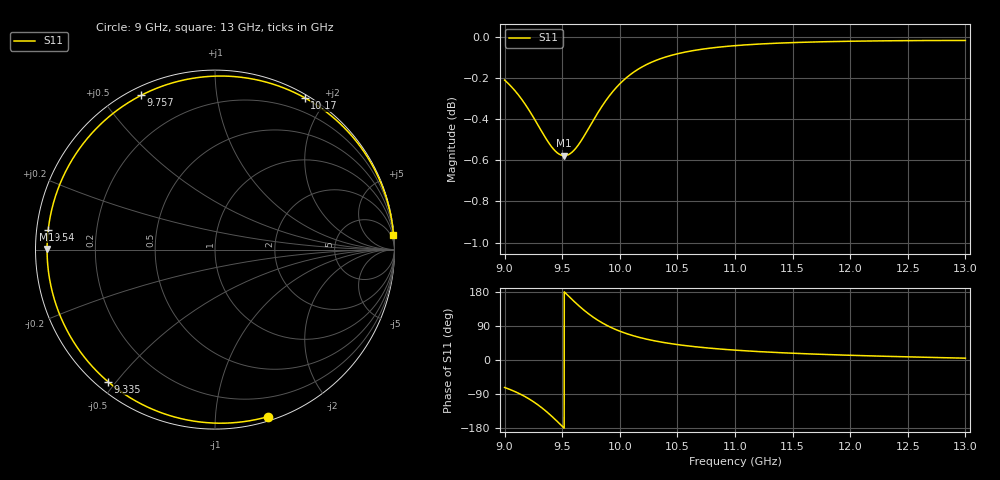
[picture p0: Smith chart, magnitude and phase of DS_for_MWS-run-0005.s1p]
! TOUCHSTONE file generated by CST DESIGN STUDIO
! Date and time: Tue Feb  4 18:06:02 2025
! Project name: C:\Work\MatlabApps\UnitCellOptimizationMatlab\CST\unitcell.cst
! Tree item: Tasks\Sweep1\SPara1\S-Parameters
! Header version: 2024
! Port assignment regex: !\s*Touchstone port\s*([0-9]+)\s*=\s*(CST MWS port|CST DES external port|CST DES block port)\s*(.+)\s* \(\"(.*)\"\)(\s*mode\s*([0-9]+))?.*
! Touchstone port assignment:
! Touchstone port 1 = CST DES external port 1 ("")
# GHz S MA R 50
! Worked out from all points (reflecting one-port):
!   4001 points, 9 GHz to 13 GHz, reference 50 ohm
!   lowest |S11| = -0.6 dB at 9.518 GHz (marker M1), VSWR 30.09, Z = 1.66 + j0.101 ohm
!   phase of S11 starts at -73 deg and turns -283 deg over the sweep
!   S11 on the Smith chart (normalised r, x): 9 GHz: 0.03, -1.36; 9.335 GHz: 0.03, -0.48; 9.54 GHz: 0.03, +0.06; 9.757 GHz: 0.03, +0.63; 10.17 GHz: 0.04, +1.75; 13 GHz: 1, +24
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9  0.9761 -72.5
9.091  0.9702 -83.5
9.195  0.9615 -99.6
9.268  0.9541 -113.7
9.335  0.9471 -129.0
9.38  0.9427 -140.5
9.426  0.939 -153.1
9.464  0.9369 -164.1
9.5  0.9358 -174.8
9.518  0.9357 179.8
9.54  0.9359 173.2
9.594  0.938 157.3
9.654  0.9426 140.6
9.705  0.9475 127.5
9.757  0.953 115.6
9.808  0.9583 105.2
9.863  0.9636 95.3
10  0.9741 76.0
10.083  0.9787 67.2
10.172  0.9826 59.5
10.321  0.9871 49.4
10.5  0.9906 40.7
10.722  0.9932 32.9
11  0.9951 26.0
11.5  0.9968 17.9
12  0.9976 12.4
12.5  0.9979 8.3
13  0.998 4.8
